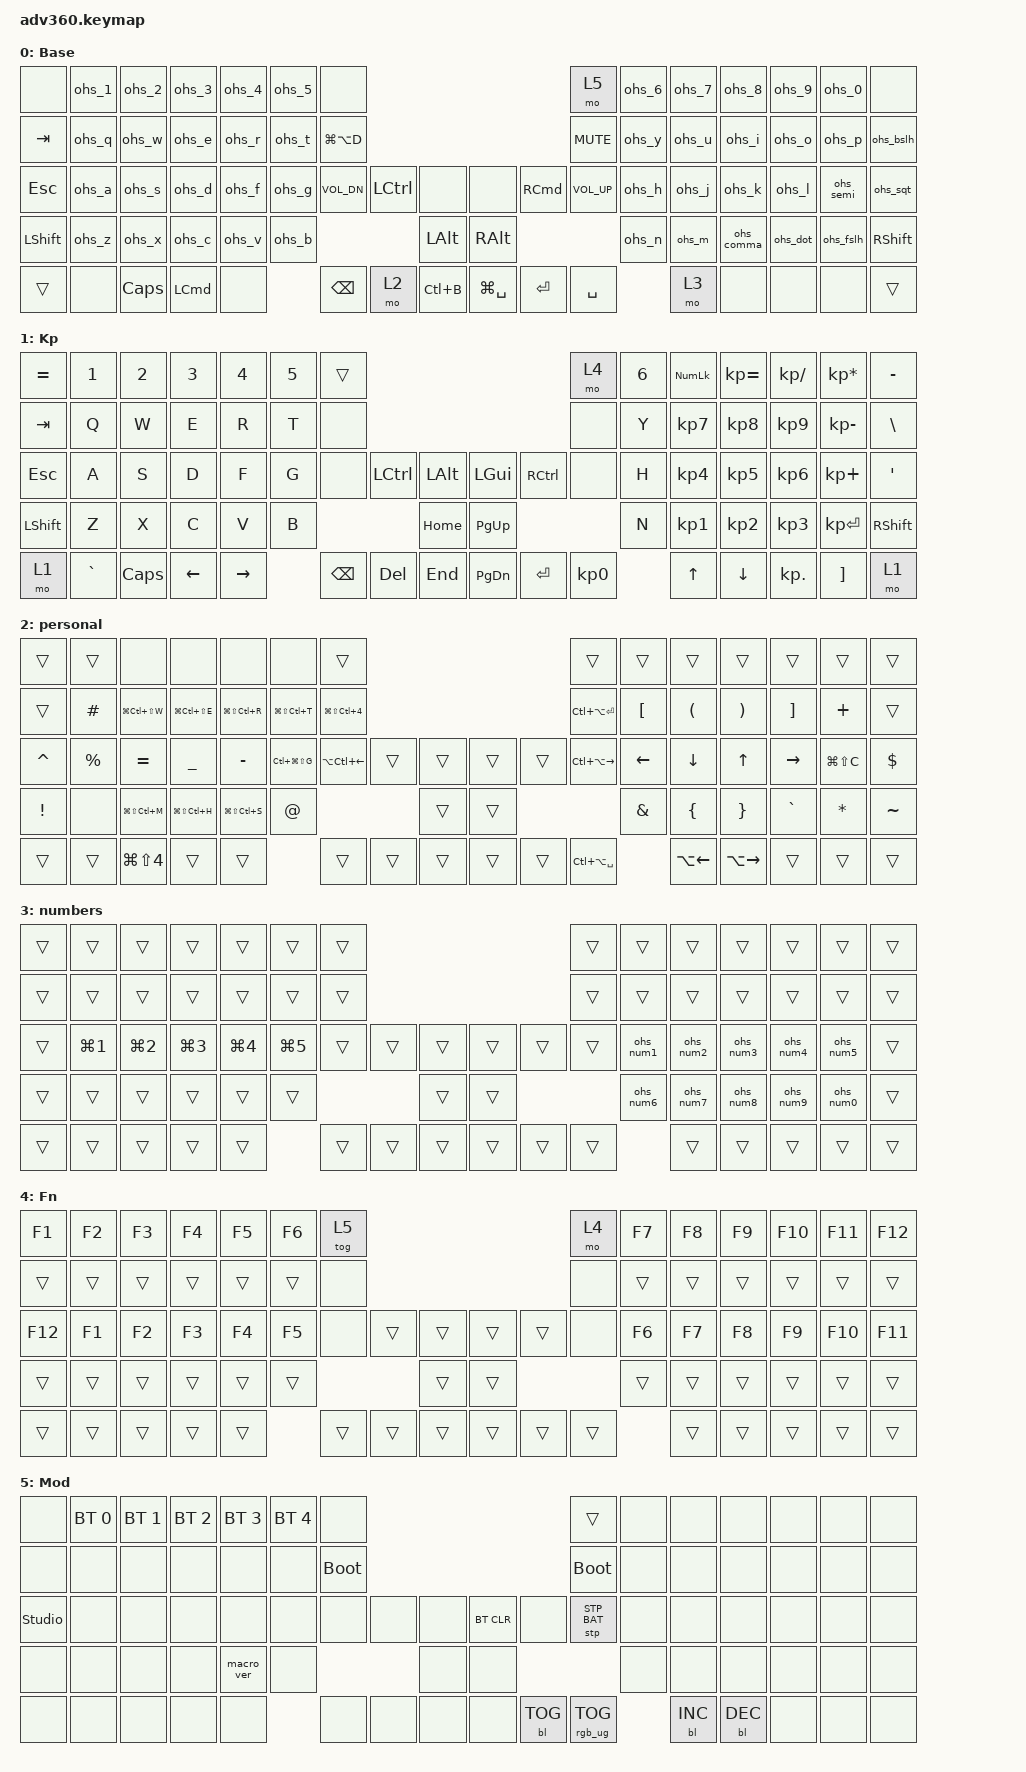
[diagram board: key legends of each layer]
#include <dt-bindings/zmk/stp.h>

#define ZMK_POINTING_DEFAULT_MOVE_VAL 1500  // default: 600
#define ZMK_POINTING_DEFAULT_SCRL_VAL 20    // default: 10

#include <behaviors.dtsi>
#include <dt-bindings/zmk/backlight.h>
#include <dt-bindings/zmk/bt.h>
#include <dt-bindings/zmk/keys.h>
#include <dt-bindings/zmk/rgb.h>

/ {
    behaviors {
        #include "macros.dtsi"
      #include "version.dtsi"
        #include "opposite_shift.dtsi"
    };

    keymap {
        compatible = "zmk,keymap";

        default_layer {
            display-name = "Base";
            bindings = <
&none           &ohs_1  &ohs_2        &ohs_3            &ohs_4  &ohs_5  &none                                                                                &mo 5         &ohs_6  &ohs_7  &ohs_8      &ohs_9    &ohs_0     &none
&kp TAB         &ohs_q  &ohs_w        &ohs_e            &ohs_r  &ohs_t  &kp LG(LA(D))                                                                        &kp C_MUTE    &ohs_y  &ohs_u  &ohs_i      &ohs_o    &ohs_p     &ohs_bslh
&kp ESCAPE      &ohs_a  &ohs_s        &ohs_d            &ohs_f  &ohs_g  &kp C_VOL_DN   &kp LEFT_CONTROL  &none             &none          &kp RIGHT_COMMAND  &kp C_VOL_UP  &ohs_h  &ohs_j  &ohs_k      &ohs_l    &ohs_semi  &ohs_sqt
&kp LEFT_SHIFT  &ohs_z  &ohs_x        &ohs_c            &ohs_v  &ohs_b                                   &kp LEFT_ALT      &kp RIGHT_ALT                                   &ohs_n  &ohs_m  &ohs_comma  &ohs_dot  &ohs_fslh  &kp RIGHT_SHIFT
&trans          &none   &kp CAPSLOCK  &kp LEFT_COMMAND  &none           &kp BACKSPACE  &mo 2             &kp LC(B)         &kp LG(SPACE)  &kp ENTER          &kp SPACE             &mo 3   &none       &none     &none      &trans
            >;
        };

        keypad {
            display-name = "Kp";
            bindings = <
&kp EQUAL  &kp N1     &kp N2    &kp N3    &kp N4     &kp N5  &trans                                                   &mo 4      &kp N6  &kp KP_NUM  &kp KP_EQUAL  &kp KP_DIVIDE  &kp KP_MULTIPLY  &kp MINUS
&kp TAB    &kp Q      &kp W     &kp E     &kp R      &kp T   &none                                                    &none      &kp Y   &kp KP_N7   &kp KP_N8     &kp KP_N9      &kp KP_MINUS     &kp BSLH
&kp ESC    &kp A      &kp S     &kp D     &kp F      &kp G   &none     &kp LCTRL  &kp LALT      &kp LGUI   &kp RCTRL  &none      &kp H   &kp KP_N4   &kp KP_N5     &kp KP_N6      &kp KP_PLUS      &kp SQT
&kp LSHFT  &kp Z      &kp X     &kp C     &kp V      &kp B                        &kp HOME      &kp PG_UP                        &kp N   &kp KP_N1   &kp KP_N2     &kp KP_N3      &kp KP_ENTER     &kp RSHFT
&mo 1      &kp GRAVE  &kp CAPS  &kp LEFT  &kp RIGHT          &kp BSPC  &kp DEL    &kp END       &kp PG_DN  &kp ENTER  &kp KP_N0          &kp UP      &kp DOWN      &kp KP_DOT     &kp RBKT         &mo 1
            >;
        };

        personal {
            bindings = <
&trans           &trans       &none                 &none              &none              &none              &trans                                                        &trans             &trans            &trans                &trans                 &trans             &trans         &trans
&trans           &kp HASH     &kp LG(LC(LS(W)))     &kp LG(LC(LS(E)))  &kp LG(LS(LC(R)))  &kp LG(LS(LC(T)))  &kp LG(LS(LC(NUMBER_4)))                                      &kp LC(LA(ENTER))  &kp LEFT_BRACKET  &kp LEFT_PARENTHESIS  &kp RIGHT_PARENTHESIS  &kp RIGHT_BRACKET  &kp PLUS       &trans
&kp CARET        &kp PERCENT  &kp EQUAL             &kp UNDER          &kp MINUS          &kp LC(LG(LS(G)))  &kp LA(LC(LEFT))          &trans  &trans      &trans  &trans  &kp LC(LA(RIGHT))  &kp LEFT          &kp DOWN_ARROW        &kp UP_ARROW           &kp RIGHT          &kp LG(LS(C))  &kp DOLLAR
&kp EXCLAMATION  &none        &kp LG(LS(LC(M)))     &kp LG(LS(LC(H)))  &kp LG(LS(LC(S)))  &kp AT_SIGN                                          &trans      &trans                             &kp AMPERSAND     &kp LEFT_BRACE        &kp RIGHT_BRACE        &kp GRAVE          &kp ASTERISK   &kp TILDE
&trans           &trans       &kp LG(LS(NUMBER_4))  &trans             &trans                                &trans                    &trans  &trans      &trans  &trans  &kp LC(LA(SPACE))                    &kp LA(LEFT_ARROW)    &kp LA(RIGHT_ARROW)    &trans             &trans         &trans
            >;
        };

        numbers {
            bindings = <
&trans  &trans            &trans            &trans            &trans            &trans            &trans                                      &trans  &trans     &trans     &trans     &trans     &trans     &trans
&trans  &trans            &trans            &trans            &trans            &trans            &trans                                      &trans  &trans     &trans     &trans     &trans     &trans     &trans
&trans  &kp LG(NUMBER_1)  &kp LG(NUMBER_2)  &kp LG(NUMBER_3)  &kp LG(NUMBER_4)  &kp LG(NUMBER_5)  &trans  &trans  &trans      &trans  &trans  &trans  &ohs_num1  &ohs_num2  &ohs_num3  &ohs_num4  &ohs_num5  &trans
&trans  &trans            &trans            &trans            &trans            &trans                            &trans      &trans                  &ohs_num6  &ohs_num7  &ohs_num8  &ohs_num9  &ohs_num0  &trans
&trans  &trans            &trans            &trans            &trans                              &trans  &trans  &trans      &trans  &trans  &trans             &trans     &trans     &trans     &trans     &trans
            >;
        };

        fn {
            display-name = "Fn";
            bindings = <
&kp F1   &kp F2  &kp F3  &kp F4  &kp F5  &kp F6  &tog 5                                      &mo 4   &kp F7  &kp F8  &kp F9  &kp F10  &kp F11  &kp F12
&trans   &trans  &trans  &trans  &trans  &trans  &none                                       &none   &trans  &trans  &trans  &trans   &trans   &trans
&kp F12  &kp F1  &kp F2  &kp F3  &kp F4  &kp F5  &none   &trans  &trans      &trans  &trans  &none   &kp F6  &kp F7  &kp F8  &kp F9   &kp F10  &kp F11
&trans   &trans  &trans  &trans  &trans  &trans                  &trans      &trans                  &trans  &trans  &trans  &trans   &trans   &trans
&trans   &trans  &trans  &trans  &trans          &trans  &trans  &trans      &trans  &trans  &trans          &trans  &trans  &trans   &trans   &trans
            >;
        };

        mod {
            display-name = "Mod";
            bindings = <
&none           &bt BT_SEL 0  &bt BT_SEL 1  &bt BT_SEL 2  &bt BT_SEL 3  &bt BT_SEL 4  &none                                                  &trans           &none  &none       &none       &none  &none  &none
&none           &none         &none         &none         &none         &none         &bootloader                                            &bootloader      &none  &none       &none       &none  &none  &none
&studio_unlock  &none         &none         &none         &none         &none         &none        &none  &none      &bt BT_CLR  &none       &stp STP_BAT     &none  &none       &none       &none  &none  &none
&none           &none         &none         &none         &macro_ver    &none                             &none      &none                                    &none  &none       &none       &none  &none  &none
&none           &none         &none         &none         &none                       &none        &none  &none      &none       &bl BL_TOG  &rgb_ug RGB_TOG         &bl BL_INC  &bl BL_DEC  &none  &none  &none
            >;
        };

        extra1 {
            display-name = "Red";
            status = "reserved";
        };

        extra2 {
            display-name = "Purple";
            status = "reserved";
        };

        extra3 {
            display-name = "Cyan";
            status = "reserved";
        };

        extra4 {
            display-name = "Yellow";
            status = "reserved";
        };
    };
};
